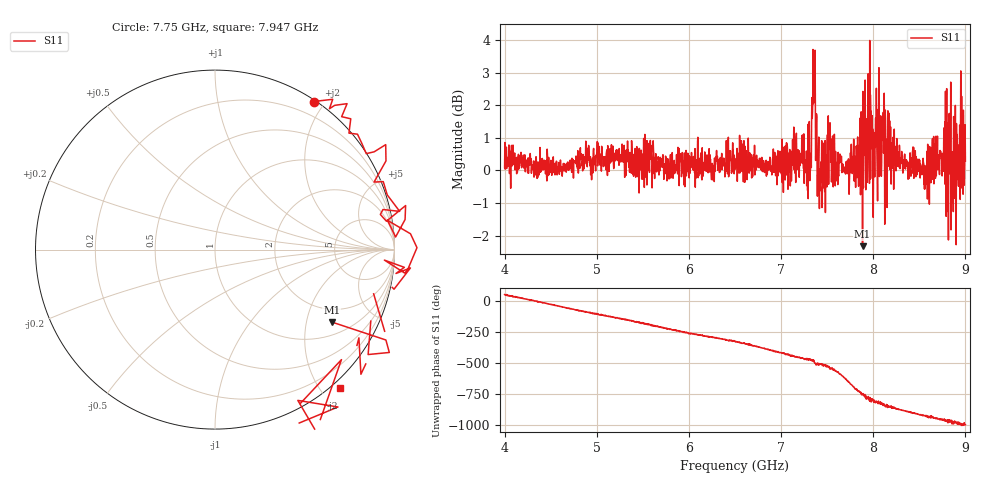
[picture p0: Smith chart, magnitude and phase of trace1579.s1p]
! Created with skrf 1.8.0 (http://scikit-rf.org).
# Hz S RI R 50.0
!freq ReS11 ImS11
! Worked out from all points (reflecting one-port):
!   1601 points, 4 GHz to 9 GHz, reference 50 ohm
!   lowest |S11| = -2.3 dB at 7.884 GHz (marker M1), VSWR 7.51, Z = 72.7 - j141 ohm
!   phase of S11 starts at 52 deg and turns -1047 deg over the sweep
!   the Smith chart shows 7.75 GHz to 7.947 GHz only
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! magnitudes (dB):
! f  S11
! 4 GHz  0.1
! 4.625 GHz  -0.2
! 5.25 GHz  0.3
! 5.875 GHz  0.1
! 6.5 GHz  0.3
! 7.125 GHz  0.9
! 7.303 GHz  0.1
! 7.359 GHz  2.1
! 7.4 GHz  -0.2
! 7.438 GHz  0.1
! 7.519 GHz  0.6
! 7.609 GHz  0.0
! 7.75 GHz  -0.1
! 7.884 GHz  -2.3
! 7.962 GHz  4.0
! 8.022 GHz  0.7
! 8.038 GHz  0.9
! 8.066 GHz  -0.2
! 8.119 GHz  2.4
! 8.209 GHz  0.8
! 8.375 GHz  0.3
! 8.575 GHz  -0.1
! 8.784 GHz  2.4
! 8.841 GHz  2.7
! 8.897 GHz  1.2
! 8.919 GHz  0.0
! 8.956 GHz  0.3
! 9 GHz  0.3
